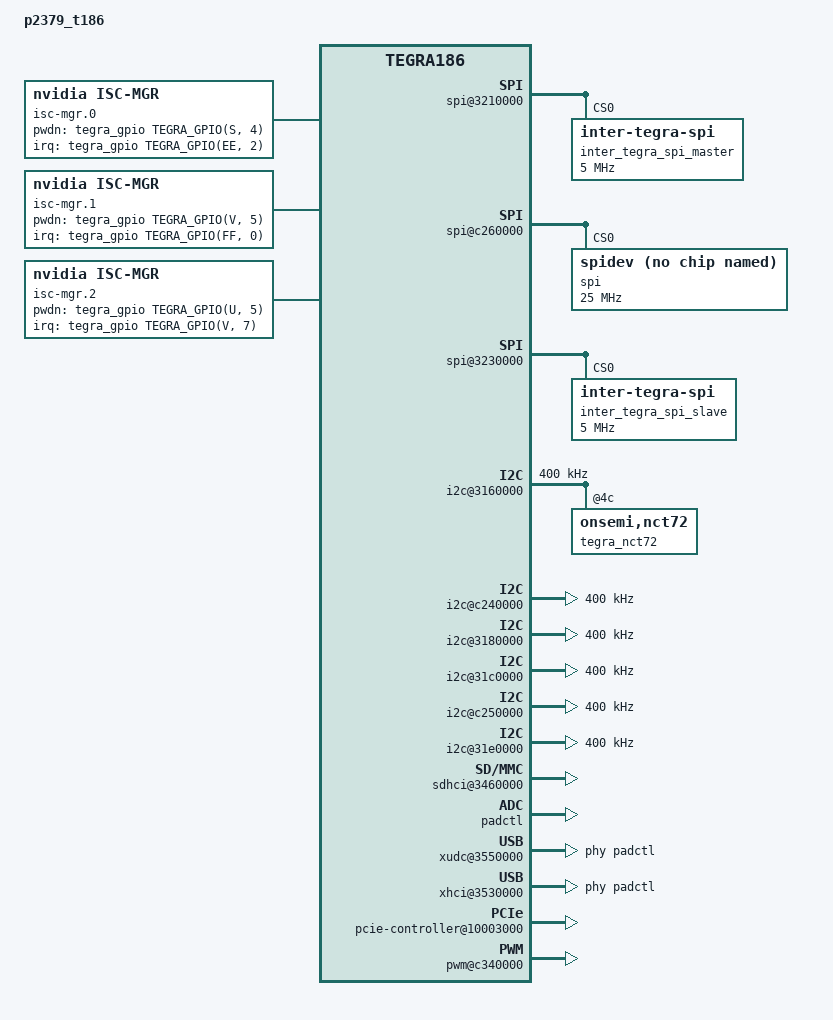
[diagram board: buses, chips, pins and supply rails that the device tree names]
/*
 * tegra186-vcm31-p2379-common.dtsi: VCM3.1 based P2379(DPX2)
 * common dtsi.
 *
 * Copyright (c) 2016 - 2017, NVIDIA CORPORATION.  All rights reserved.
 *
 * This program is free software; you can redistribute it and/or modify
 * it under the terms of the GNU General Public License as published by
 * the Free Software Foundation; version 2 of the License.
 *
 * This program is distributed in the hope that it will be useful, but WITHOUT
 * ANY WARRANTY; without even the implied warranty of MERCHANTABILITY or
 * FITNESS FOR A PARTICULAR PURPOSE.  See the GNU General Public License for
 * more details.
 */

#include <dt-bindings/types.h>
#include <dt-bindings/input/atmel_mxt_ts.h>
/dts-v1/;

/memreserve/ 0x80000000 0x00010000;

#include "tegra186-platforms/tegra186-vcm31.dtsi"
#include "tegra186-platforms/tegra186-vcm31-power-tree-p2379-0000-c00-00.dtsi"
#include "tegra186-vcm31-p2379-pwm-fan.dtsi"
#include "tegra186-vcm31-p2379-thermal-fan-est.dtsi"

/ {
        model = "p2379_t186";
        compatible = "nvidia,p2379_t186", "nvidia,tegra186";

        nvidia,dtbbuildtime = __DATE__, __TIME__;
        #address-cells = <2>;
        #size-cells = <2>;

	pmc@c360000 {
		io-pad-defaults {
			sdmmc1-hv {
				nvidia,enable-dynamic-pad-voltage;
			};

			sdmmc3-hv {
				nvidia,enable-dynamic-pad-voltage;
			};
		};
	};

	serial@3100000 { /* Tegra UARTA */
		status = "disabled";
	};

	spi@3210000 { /* Tegra SPI1 <-> VCM SPIB: Inter Tegra Master */
		status = "okay";
		inter_tegra_spi_master: spi@0 {
			#thermal-sensor-cells = <0>;
			compatible = "inter-tegra-spi";
			reg = <0>;
			spi-cpha;
			spi-max-frequency = <5000000>;
			is-master;
			send_period_ms = <5000>;
			send_tz_type = "Tdiode_tegra";
		};
	};

	spi@c260000 { /* Tegra SPI2 <-> VCM SPIA: Aurix slave */
		compatible = "nvidia,tegra186-spi-slave";
		status = "okay";
		spi@0 {
			compatible = "spidev";
			reg = <0>;
			spi-max-frequency = <25000000>;
		};
	};

	spi@3230000 { /* Tegra SPI3 <-> VCM SPID: Inter Tegra slave*/
		status = "okay";
		compatible = "nvidia,tegra186-spi-slave";
		inter_tegra_spi_slave: spi@0 {
			#thermal-sensor-cells = <0>;
			compatible = "inter-tegra-spi";
			reg = <0>;
			spi-cpha;
			spi-max-frequency = <5000000>;
			receive_timeout_ms = <10000>;
			controller-data {
				nvidia,variable-length-transfer;
			};
		};
	};

	thermal-zones {
		Tegra_tx {
			status = "okay";
			polling-delay = <0>;
			polling-delay-passive = <0>;
			thermal-sensors = <&inter_tegra_spi_master>;

			thermal-zone-params {
				governor-name = "pid_thermal_gov";
			};

		};

		Tegra_rx {
			status = "okay";
			polling-delay = <0>;
			polling-delay-passive = <0>;
			thermal-sensors = <&inter_tegra_spi_slave>;

			thermal-zone-params {
				governor-name = "pid_thermal_gov";
			};

		};
	};

	i2c@3160000 { /* Tegra I2C1 - VCM I2CA: Temp sensor */
		clock-frequency = <400000>;
		status = "okay";
	};

	i2c@c240000 { /* Tegra I2C2 <-> VCM I2CB: CSI E-F */
		clock-frequency = <400000>;
		status = "okay";
	};

	i2c@3180000 { /* Tegra I2C3 - VCM I2CD: CSI C-D */
		clock-frequency = <400000>;
		status = "okay";
	};

	i2c@31c0000 { /* Tegra I2C7 - MID DPX2 I2CE: DSI to LVDS*/
		clock-frequency = <400000>;
		status = "okay";
	};

	i2c@c250000 { /* Tegra I2C8 <-> VCM I2CC: CSI A-B */
		clock-frequency = <400000>;
		status = "okay";
	};

	i2c@31e0000 {
		clock-frequency = <400000>;
		status = "okay";
	};

        sdhci@3460000 { /* SDMMC_D: Used for eMMc */
                        status = "okay";
                        uhs-mask = <0x00>;
        };

	padctl: pinctrl@3520000 {
		status = "okay";
		pinctrl-0 = <&p2379_padctl_default>;
		pinctrl-names = "default";
		p2379_padctl_default: pinmux {
			usb2-ftdi-hub-port1 {
				nvidia,lanes = "otg-0";
				nvidia,function = "xusb";
				nvidia,port-cap = <TEGRA_PADCTL_PORT_OTG_CAP>;
			};
			usb2-std-A-port1 {
				nvidia,lanes = "otg-2";
				nvidia,function = "xusb";
				nvidia,port-cap = <TEGRA_PADCTL_PORT_HOST_ONLY>;
			};
			usb3-std-A-port1 {
				nvidia,lanes = "usb3-0";
				nvidia,port-cap = <TEGRA_PADCTL_PORT_HOST_ONLY>;
			};
		};
	};

	external-connection {
		/* P2379 doesn't have ID/VBUS detection */
		id_gpio_extcon: extcon@0 {
			status="okay";
			compatible = "extcon-gpio";
			extcon-gpio,name = "USB-ID";
			extcon-gpio,cable-name = "USB-Host";
			#extcon-cells = <1>;
		};
		vbus_gpio_extcon: extcon@1 {
			status="okay";
			compatible = "extcon-gpio";
			extcon-gpio,name = "USB-VBUS";
			extcon-gpio,default-connected;
			extcon-gpio,cable-name = "USB";
			#extcon-cells = <1>;
		};
	};

	mailbox@3538000 {
		status = "okay";
	};

	xudc@3550000 {
		status = "okay";
		extcon-cables = <&vbus_gpio_extcon 0>;
		extcon-cable-names = "vbus";
		#extcon-cells = <1>;
		phys = <&padctl TEGRA_PADCTL_PHY_UTMI_P(0)>;
		phy-names = "usb2";
	};

	xhci@3530000 {
		status = "okay";
		extcon-cables = <&id_gpio_extcon 0>;
		extcon-cable-names = "id";
		#extcon-cells = <1>;
		phys = <&padctl TEGRA_PADCTL_PHY_UTMI_P(2)>,
			<&padctl TEGRA_PADCTL_PHY_USB3_P(0)>;
		phy-names = "utmi-2", "usb3-0";
	};

	pcie-controller@10003000 {
		/*
		 * Even though the board is using PCIe root ports in  4_0_0
		 * configuration, we have to provide 4_0_1 to the driver.
		 * as driver only support following configs
		 * 1. X4_X0_X1
		 * 2. X2_X1_X1
		 * 3. X1_X1_X1
		 */
		nvidia,lane-map = <0x401>;
		status = "okay";
		pci@1,0 {
			status = "okay";
			nvidia,num-lanes = <0x4>;
			/* C00 uses PEX MXM connector
			 * port for connecting dGPU
			 */
			nvidia,has-mxm-port;
			nvidia,pwr-gd-gpio =
				<&tegra_gpio TEGRA_GPIO(B, 6) 0>;
		};
		pci@2,0 {
			status = "disabled";
		};
	};

	ahub {
		status = "disabled";
	};

	adma@2930000{
		status = "disabled";
	};

        adsp_audio {
		status = "disabled";
        };

	spdif-dit.0@0 {
		status = "disabled";
        };

	spdif-dit.1@1 {
		status = "disabled";
        };

	spdif-dit.2@2 {
		status = "disabled";
        };

	spdif-dit.3@3 {
		status = "disabled";
        };

	isc-mgr.0 {
		compatible = "nvidia,isc-mgr";
		i2c-bus = <7>;
		csi-port = <0>;
		pwdn-gpios = < &tegra_gpio TEGRA_GPIO(S, 4) GPIO_ACTIVE_HIGH >;  /* GMSLA_PWRDN */
		interrupt-parent = <&tegra_gpio>;
		interrupts = <TEGRA_GPIO(EE, 2) 2>; /* GMSLA_STATUS_OC : falling edge sensitive */
		/*interrupts = <TEGRA_GPIO(Y, 2) 2>;*/ /* GMSLA_LOCKOUT : falling edge sensitive */
		status = "okay";
	};

	isc-mgr.1 {
		compatible = "nvidia,isc-mgr";
		i2c-bus = <2>;
		csi-port = <2>;
		pwdn-gpios = < &tegra_gpio TEGRA_GPIO(V, 5) GPIO_ACTIVE_HIGH >;  /* GMSLB_PWRDN */
		interrupt-parent = <&tegra_gpio>;
		interrupts = <TEGRA_GPIO(FF, 0) 2>; /* GMSLB_STATUS_OC : falling edge sensitive */
		/*interrupts = <TEGRA_GPIO(Y, 5) 2>;*/ /* GMSLB_LOCKOUT : falling edge sensitive */
		status = "okay";
	};

	isc-mgr.2 {
		compatible = "nvidia,isc-mgr";
		i2c-bus = <1>;
		csi-port = <4>;
		pwdn-gpios = < &tegra_gpio TEGRA_GPIO(U, 5) GPIO_ACTIVE_HIGH >;  /* GMSLC_PWRDN */
		interrupt-parent = <&tegra_gpio>;
		interrupts = <TEGRA_GPIO(V, 7) 2>; /* GMSLC_STATUS_OC : falling edge sensitive */
		/*interrupts = <TEGRA_GPIO(Y, 6) 2>;*/ /* GMSLC_LOCKOUT : falling edge sensitive */
		status = "okay";
	};

	sdhci@3400000 {
		status = "disabled";
	};

	sdhci@3440000 {
		status = "disabled";
	};

	pwm@c340000 {
		status = "okay";
	};

        ptm_a57_0: ptm@9840000 {
                status = "okay";
        };

        ptm_a57_1: ptm@9940000 {
                status = "okay";
        };

        ptm_a57_2: ptm@9a40000 {
                status = "okay";
        };

        ptm_a57_3: ptm@9b40000 {
                status = "okay";
        };

        funnel_bccplex@9010000 {
                status = "okay";
        };

        funnel_major@8010000 {
                status = "okay";
        };

        replicator@0x8040000 {
                status = "okay";
        };

        etf@8030000 {
                status = "okay";
        };

        tpiu@8060000 {
                status = "okay";
        };

	pmc-iopower {
		status = "disabled";
	};

	bpmp {
		bpmpthermal {
			status = "okay";
		};
	};

	cpus {
		status = "disabled";

	};

	soft_wdt:soft_watchdog {
		compatible = "softdog-platform";
		status = "okay";
	};

	mttcan@c310000 {
		gpio_can_stb = <&tegra_gpio TEGRA_GPIO(AA, 0) GPIO_ACTIVE_LOW>;
		mram-params = <0 16 16 8 8 8 16 16 16>;
		tx-config = <8 8 0 64>;
		rx-config = <64 64 64>;
		status = "okay";
	};

	mttcan@c320000 {
		gpio_can_stb = <&tegra_gpio TEGRA_GPIO(AA, 6) GPIO_ACTIVE_LOW>;
		mram-params = <0 16 16 8 8 8 16 16 16>;
		tx-config = <8 8 0 64>;
		rx-config = <64 64 64>;
		status = "okay";
	};

	i2c@3160000 {
		tegra_nct72: onsemi,nct72@4c {
			offset = <(-12)>; /* -3C */
			ext {
				shutdown-limit = <105>;
			};
		};
	};

	tegra_wdt:watchdog@30c0000 {
		nvidia,shutdown-timeout = <0>;
		nvidia,disable-remote-interrupt;
		status = "okay";
	};
};

